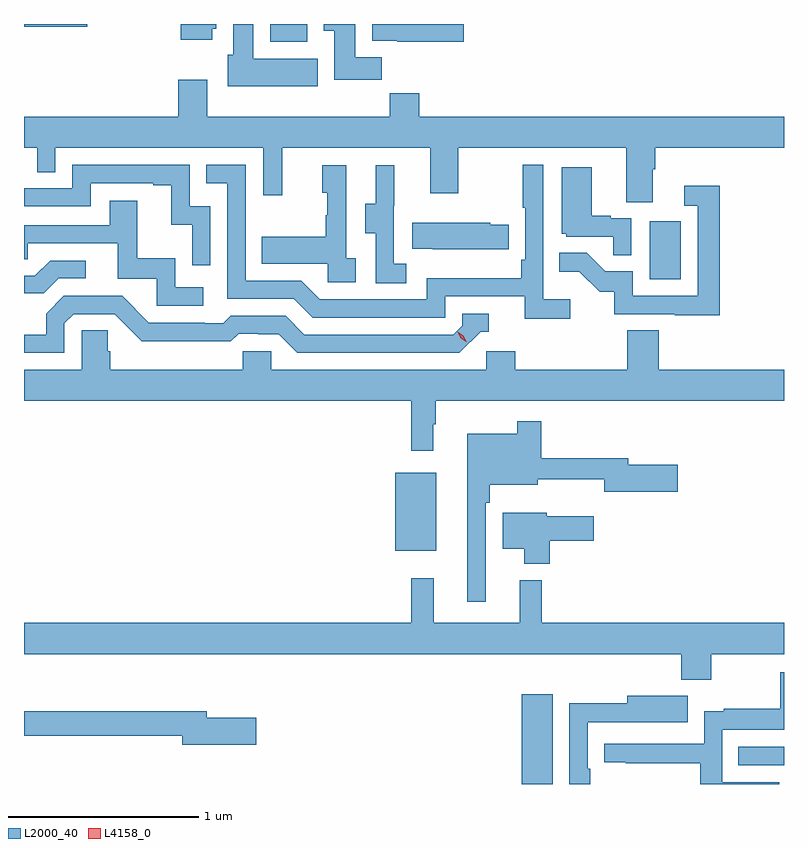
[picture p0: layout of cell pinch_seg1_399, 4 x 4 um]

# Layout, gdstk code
import gdstk
lib = gdstk.Library(unit=1e-6, precision=1e-09)
def R(c, l, rs):  # rectangles x0, y0, x1, y1
    for r in rs: c.add(gdstk.rectangle(r[:2], r[2:], *l))
def P(c, l, *ps):  # polygons
    for p in ps: c.add(gdstk.Polygon(p, *l))
L2000_40 = (2000, 40)
L4158_0 = (4158, 0)

pinch_seg1_399 = lib.new_cell('pinch_seg1_399')
R(pinch_seg1_399, L2000_40, [(1014.506,536.396,1014.667,536.869), (1015.645,536.496,1015.885,536.592), (1013.84,537.623,1014.055,538.033), (1015.178,539.052,1015.342,539.359), (1013.18,540.302,1013.377,540.396), (1011.885,540.382,1012.219,540.396)])
P(pinch_seg1_399, L2000_40, [(1013.768,540.22),(1013.629,540.22),(1013.629,540.396),(1013.462,540.396),(1013.462,540.361),(1013.519,540.361),(1013.519,540.102),(1013.768,540.102)],
  [(1012.876,540.372),(1012.897,540.372),(1012.897,540.396),(1012.711,540.396),(1012.711,540.312),(1012.876,540.312)],
  [(1014.199,540.396),(1013.717,540.396),(1013.717,540.308),(1013.85,540.308),(1013.85,540.302),(1014.199,540.302)],
  [(1013.431,540.214),(1013.092,540.214),(1013.092,540.396),(1012.985,540.396),(1012.985,540.234),(1012.958,540.234),(1012.958,540.068),(1013.431,540.068)],
  [(1015.195,539.632),(1015.208,539.632),(1015.208,539.744),(1015.885,539.744),(1015.885,539.908),(1013.966,539.908),(1013.966,540.032),(1013.809,540.032),(1013.809,539.908),(1012.849,539.908),(1012.849,540.103),(1012.697,540.103),(1012.697,539.908),(1011.885,539.908),(1011.885,539.744),(1011.954,539.744),(1011.954,539.617),(1012.05,539.617),(1012.05,539.744),(1013.145,539.744),(1013.145,539.496),(1013.243,539.496),(1013.243,539.744),(1014.023,539.744),(1014.023,539.505),(1014.171,539.505),(1014.171,539.744),(1015.055,539.744),(1015.055,539.458),(1015.195,539.458)],
  [(1014.76,538.948),(1014.618,538.948),(1014.618,539.656),(1014.51,539.656),(1014.51,539.428),(1014.522,539.428),(1014.522,539.155),(1014.502,539.155),(1014.502,539.059),(1014.006,539.059),(1014.006,538.947),(1013.442,538.947),(1013.343,539.046),(1013.052,539.046),(1013.052,539.655),(1012.843,539.655),(1012.843,539.559),(1012.956,539.559),(1012.956,538.95),(1013.306,538.95),(1013.405,538.851),(1014.102,538.851),(1014.102,538.962),(1014.521,538.962),(1014.521,538.846),(1014.76,538.846)],
  [(1012.866,539.436),(1012.758,539.436),(1012.758,539.655),(1012.14,539.655),(1012.14,539.532),(1011.885,539.532),(1011.885,539.436),(1012.236,539.436),(1012.236,539.559),(1012.565,539.559),(1012.565,539.547),(1012.661,539.547),(1012.661,539.339),(1012.77,539.339),(1012.77,539.127),(1012.866,539.127)],
  [(1013.632,539.162),(1013.58,539.162),(1013.58,539.653),(1013.456,539.653),(1013.456,539.508),(1013.482,539.508),(1013.482,539.39),(1013.472,539.39),(1013.472,539.275),(1013.137,539.275),(1013.137,539.135),(1013.484,539.135),(1013.484,539.037),(1013.632,539.037)],
  [(1013.896,539.135),(1013.832,539.135),(1013.832,539.439),(1013.834,539.439),(1013.834,539.653),(1013.735,539.653),(1013.735,539.451),(1013.681,539.451),(1013.681,539.296),(1013.736,539.296),(1013.736,539.032),(1013.896,539.032)],
  [(1015.08,539.373),(1014.974,539.373),(1014.974,539.386),(1014.874,539.386),(1014.874,539.641),(1014.716,539.641),(1014.716,539.292),(1014.738,539.292),(1014.738,539.277),(1014.985,539.277),(1014.985,539.179),(1015.08,539.179)],
  [(1015.547,539.545),(1015.359,539.545),(1015.359,539.439),(1015.431,539.439),(1015.431,538.965),(1015.089,538.965),(1015.089,539.094),(1014.945,539.094),(1014.847,539.192),(1014.703,539.192),(1014.703,539.093),(1014.807,539.093),(1014.914,538.986),(1014.991,538.986),(1014.991,538.869),(1015.309,538.869),(1015.309,538.864),(1015.547,538.864)],
  [(1012.828,539.01),(1012.68,539.01),(1012.68,539.164),(1012.481,539.164),(1012.481,539.467),(1012.337,539.467),(1012.337,539.337),(1011.885,539.337),(1011.885,539.157),(1011.905,539.157),(1011.905,539.241),(1012.379,539.241),(1012.379,539.055),(1012.584,539.055),(1012.584,538.914),(1012.828,538.914)],
  [(1014.437,539.34),(1014.339,539.34),(1014.339,539.35),(1013.929,539.35),(1013.929,539.213),(1014.037,539.213),(1014.037,539.21),(1014.437,539.21)],
  [(1012.068,539.058),(1012.21,539.058),(1012.21,539.151),(1012.022,539.151),(1011.941,539.07),(1011.885,539.07),(1011.885,538.978),(1011.988,538.978)],
  [(1012.098,538.821),(1012.146,538.869),(1012.362,538.869),(1012.504,538.727),(1012.74,538.727),(1012.74,538.725),(1012.973,538.725),(1013.015,538.767),(1013.118,538.767),(1013.118,538.764),(1013.225,538.764),(1013.324,538.665),(1014.177,538.665),(1014.288,538.776),(1014.331,538.776),(1014.331,538.872),(1014.192,538.872),(1014.192,538.809),(1014.144,538.761),(1013.361,538.761),(1013.262,538.86),(1012.973,538.86),(1012.934,538.821),(1012.835,538.821),(1012.835,538.824),(1012.542,538.824),(1012.401,538.965),(1012.095,538.965),(1012.001,538.871),(1012.001,538.761),(1011.885,538.761),(1011.885,538.665),(1012.098,538.665)],
  [(1014.04,538.289),(1014.052,538.289),(1014.052,538.412),(1015.885,538.412),(1015.885,538.576),(1015.226,538.576),(1015.226,538.784),(1015.061,538.784),(1015.061,538.576),(1014.47,538.576),(1014.47,538.674),(1014.318,538.674),(1014.318,538.576),(1013.187,538.576),(1013.187,538.674),(1013.037,538.674),(1013.037,538.576),(1012.34,538.576),(1012.34,538.674),(1012.325,538.674),(1012.325,538.784),(1012.188,538.784),(1012.188,538.576),(1011.885,538.576),(1011.885,538.412),(1013.923,538.412),(1013.923,538.149),(1014.04,538.149)],
  [(1014.315,537.875),(1014.335,537.875),(1014.335,537.971),(1014.589,537.971),(1014.589,538.001),(1014.938,538.001),(1014.938,537.935),(1015.327,537.935),(1015.327,538.077),(1015.066,538.077),(1015.066,538.111),(1014.608,538.111),(1014.608,538.306),(1014.48,538.306),(1014.48,538.24),(1014.218,538.24),(1014.218,537.354),(1014.315,537.354)],
  [(1014.653,537.676),(1014.883,537.676),(1014.883,537.805),(1014.636,537.805),(1014.636,537.823),(1014.404,537.823),(1014.404,537.635),(1014.518,537.635),(1014.518,537.554),(1014.653,537.554)],
  [(1015.503,537.08),(1015.885,537.08),(1015.885,537.244),(1014.611,537.244),(1014.611,537.469),(1014.494,537.469),(1014.494,537.244),(1014.041,537.244),(1014.041,537.478),(1013.923,537.478),(1013.923,537.244),(1011.885,537.244),(1011.885,537.08),(1015.343,537.08),(1015.343,536.945),(1015.503,536.945)],
  [(1015.861,536.406),(1015.56,536.406),(1015.56,536.682),(1015.885,536.682),(1015.885,536.985),(1015.866,536.985),(1015.866,536.791),(1015.567,536.791),(1015.567,536.779),(1015.464,536.779),(1015.464,536.607),(1014.939,536.607),(1014.939,536.511),(1015.051,536.511),(1015.051,536.506),(1015.444,536.506),(1015.444,536.396),(1015.861,536.396)],
  [(1014.866,536.476),(1014.852,536.476),(1014.852,536.721),(1015.165,536.721),(1015.165,536.72),(1015.379,536.72),(1015.379,536.86),(1015.061,536.86),(1015.061,536.822),(1014.756,536.822),(1014.756,536.396),(1014.866,536.396)],
  [(1013.107,536.745),(1012.846,536.745),(1012.846,536.779),(1011.885,536.779),(1011.885,536.65),(1012.718,536.65),(1012.718,536.603),(1013.107,536.603)])
P(pinch_seg1_399, L4158_0, [(1014.214,538.722),(1014.183,538.742),(1014.168,538.775),(1014.168,538.775),(1014.168,538.775),(1014.198,538.755),(1014.214,538.722),(1014.214,538.722)])

lib.write_gds('pinch_seg1_399.gds')
